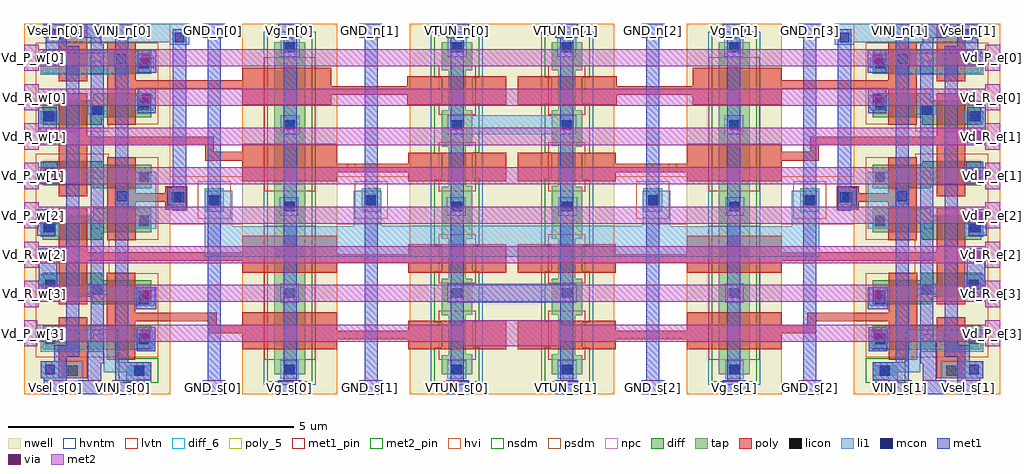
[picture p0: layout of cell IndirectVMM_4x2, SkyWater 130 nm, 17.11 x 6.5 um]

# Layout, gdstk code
from math import pi, radians
import gdstk
lib = gdstk.Library(unit=1e-6, precision=1e-09)
def R(c, l, rs):  # rectangles x0, y0, x1, y1
    for r in rs: c.add(gdstk.rectangle(r[:2], r[2:], *l))
def A(c, l, x, y, w, h, nx, ny, dx, dy):  # array of equal rectangles
    R(c, l, [(x+i*dx, y+j*dy, x+i*dx+w, y+j*dy+h) for i in range(nx) for j in range(ny)])
nwell = (64, 20)
diff_6 = (65, 6)
diff = (65, 20)
tap = (65, 44)
poly_5 = (66, 5)
poly = (66, 20)
licon = (66, 44)
li1 = (67, 20)
mcon = (67, 44)
met1_pin = (68, 16)
met1 = (68, 20)
via = (68, 44)
met2_pin = (69, 16)
met2 = (69, 20)
hvi = (75, 20)
nsdm = (93, 44)
psdm = (94, 20)
npc = (95, 20)
hvntm = (125, 20)
lvtn = (125, 44)

indirectvmm_4x1 = lib.new_cell('IndirectVMM_4x1')
R(indirectvmm_4x1, nwell, [(0,0,2.56,6.5), (3.83,0,5.49,6.5), (6.76,0,8.42,6.5)])
R(indirectvmm_4x1, diff_6, [(1.21,0.9,1.35,1.05), (1.19,2.9,1.33,3.05), (1.21,3.77,1.35,3.92), (1.21,5.7,1.35,5.85)])
R(indirectvmm_4x1, diff, [(0.33,0.78,2.23,1.2), (1.2,1.58,2.23,1.71), (0.33,1.71,2.23,2), (0.33,2,1.37,2.13), (0.33,2.71,1.37,2.84), (0.33,2.84,2.23,3.13), (1.21,3.13,2.23,3.26), (1.21,3.61,2.23,3.67), (0.33,3.67,2.23,4.03), (0.33,4.03,1.36,4.09), (0.33,4.73,1.36,4.86), (0.33,4.86,2.23,5.15), (1.21,5.15,2.23,5.28), (0.33,5.62,2.23,6.04)])
R(indirectvmm_4x1, tap, [(1.79,0.33,2.23,0.51), (4.39,0.35,4.93,6.17), (7.32,0.35,7.86,0.69), (7.45,0.69,7.86,0.7), (7.45,0.7,7.74,1.39), (7.32,1.39,7.74,1.4), (7.32,1.4,7.86,2.03), (7.45,2.03,7.74,2.73), (7.32,2.73,7.86,3.64), (3.17,3.2,3.5,3.61), (5.92,3.2,6.25,3.61), (7.45,3.64,7.86,3.66), (7.45,3.66,7.74,4.34), (7.32,4.34,7.74,4.36), (7.32,4.36,7.86,4.98), (7.45,4.98,7.74,5.68), (7.32,5.68,7.86,6.17)])
R(indirectvmm_4x1, poly_5, [(5.7,0.97,5.84,1.12), (5.77,2.31,5.91,2.46), (5.67,3.89,5.81,4.04), (5.64,5.25,5.78,5.4)])
R(indirectvmm_4x1, poly, [(0.61,0.28,1.11,1.35), (1.45,0.61,1.95,1.28), (3.83,0.79,5.49,0.97), (6.74,0.79,8.45,0.97), (3.83,0.97,8.45,1.07), (3.22,1.07,8.45,1.12), (3.22,1.12,5.49,1.22), (6.74,1.12,8.45,1.29), (3.22,1.22,3.38,1.28), (3.83,1.22,5.49,1.44), (1.45,1.28,3.38,1.43), (1.45,1.43,1.95,2.13), (0.61,1.58,1.11,2.34), (3.83,2.13,5.49,2.31), (6.74,2.13,8.45,2.31), (3.83,2.31,8.45,2.34), (0.61,2.34,8.45,2.46), (0.61,2.46,5.49,2.49), (6.74,2.46,8.45,2.63), (0.61,2.49,1.11,3.26), (3.83,2.49,5.49,2.78), (1.46,2.7,1.96,3.38), (2.48,3.24,2.86,3.38), (1.46,3.38,2.86,3.53), (0.61,3.47,1.11,4.37), (1.46,3.53,1.96,4.16), (2.48,3.53,2.86,3.65), (3.83,3.74,5.49,3.89), (6.74,3.74,8.45,3.89), (3.83,3.89,8.45,4.04), (3.83,4.04,5.49,4.1), (6.74,4.04,8.45,4.24), (3.18,4.1,5.49,4.25), (3.18,4.25,3.33,4.37), (3.83,4.25,5.49,4.39), (0.61,4.37,3.33,4.52), (0.61,4.52,1.11,5.28), (1.46,4.73,1.96,5.36), (3.83,5.08,5.39,5.25), (6.72,5.08,8.45,5.25), (3.83,5.25,8.45,5.36), (1.46,5.36,8.45,5.4), (1.46,5.4,5.39,5.51), (6.72,5.4,8.45,5.58), (0.61,5.49,1.11,6.5), (1.46,5.51,1.96,6.17), (3.83,5.51,5.39,5.73)])
R(indirectvmm_4x1, licon, [(0.77,0.33,0.94,0.5), (1.935,0.33,2.105,0.5), (4.57,0.35,4.74,0.52), (7.5,0.35,7.67,0.52), (2.015,0.88,2.185,1.05), (0.375,0.89,0.545,1.06), (2.015,1.65,2.185,1.82), (4.57,1.69,4.74,1.86), (7.5,1.69,7.67,1.86), (1.195,1.75,1.365,1.92), (0.375,1.84,0.545,2.01), (0.375,2.84,0.545,3.01), (2.02,2.96,2.19,3.13), (4.56,3.21,4.73,3.38), (7.49,3.21,7.66,3.38), (3.25,3.32,3.42,3.49), (6,3.32,6.17,3.49), (2.59,3.37,2.76,3.54), (2.02,3.73,2.19,3.9), (0.375,3.81,0.545,3.98), (4.58,4.64,4.75,4.81), (7.51,4.64,7.68,4.81), (0.375,4.79,0.545,4.96), (1.195,4.9,1.365,5.07), (2.02,4.98,2.19,5.15), (2.02,5.72,2.19,5.89), (0.375,5.78,0.545,5.95), (4.58,6,4.75,6.17), (7.51,6,7.68,6.17), (0.77,6.28,0.94,6.45)])
R(indirectvmm_4x1, li1, [(1.79,0.22,2.23,0.39), (4.49,0.27,4.82,0.6), (7.42,0.27,7.75,0.6), (0.29,0.28,1.02,0.58), (1.4,0.39,2.23,0.56), (1.4,0.56,1.65,0.75), (0.29,0.75,1.65,1.13), (1.93,0.8,2.27,1.13), (1.4,1.13,1.65,1.14), (1.93,1.55,2.28,1.58), (1.93,1.58,2.29,1.88), (4.49,1.61,4.82,1.94), (7.42,1.61,7.75,1.94), (1.11,1.75,1.45,1.94), (0.29,1.76,0.63,2.11), (3.17,2.41,6.27,2.8), (0.29,2.76,0.63,3.09), (3.17,2.8,6.26,2.95), (1.94,2.9,2.32,3.29), (3.17,2.95,3.65,3.57), (5.78,2.95,6.26,3.57), (4.48,3.13,4.81,3.46), (7.41,3.13,7.74,3.46), (2.51,3.25,2.84,3.63), (1.6,3.29,2.32,3.6), (1.94,3.6,2.32,3.9), (0.29,3.73,0.63,3.98), (4.5,4.56,4.83,4.89), (7.43,4.56,7.76,4.89), (0.29,4.75,0.63,4.96), (1.11,4.9,1.46,5.07), (1.94,4.98,2.27,5.02), (1.94,5.02,2.31,5.19), (1.94,5.19,2.27,5.24), (0.29,5.6,1.79,5.99), (1.96,5.64,2.23,5.73), (1.96,5.73,2.28,5.9), (1.96,5.9,2.23,5.97), (4.5,5.92,4.83,6.25), (7.43,5.92,7.76,6.25), (2.56,6.13,2.9,6.17), (0.39,6.17,2.9,6.5)])
R(indirectvmm_4x1, mcon, [(1.935,0.33,2.105,0.5), (0.37,0.35,0.54,0.52), (4.58,0.35,4.75,0.52), (7.51,0.35,7.68,0.52), (2.015,0.89,2.185,1.06), (2.015,1.58,2.185,1.75), (4.58,1.69,4.75,1.86), (7.51,1.69,7.68,1.86), (1.2,1.75,1.37,1.92), (0.375,1.84,0.545,2.01), (0.35,2.84,0.52,3.01), (4.58,3.21,4.75,3.38), (7.51,3.21,7.68,3.38), (3.25,3.32,3.42,3.49), (6,3.32,6.17,3.49), (2.64,3.37,2.81,3.54), (1.63,3.39,1.8,3.56), (0.36,3.8,0.53,3.97), (4.58,4.64,4.75,4.81), (7.51,4.64,7.68,4.81), (0.345,4.79,0.515,4.96), (1.2,4.9,1.37,5.07), (2.02,5.03,2.19,5.2), (2.02,5.72,2.19,5.89), (1.62,5.8,1.79,5.97), (4.58,6,4.75,6.17), (7.51,6,7.68,6.17), (2.64,6.17,2.81,6.34), (0.48,6.23,0.65,6.4)])
A(indirectvmm_4x1, met1_pin, 0.35, 0, 0.4, 0.25, 3, 2, 0.6, 6.25)
R(indirectvmm_4x1, met1_pin, [(3.13,0,3.53,0.25), (4.46,0,4.86,0.25), (5.88,0,6.28,0.25), (7.4,0,7.8,0.25), (3.13,6.25,3.53,6.5), (4.46,6.25,4.86,6.5), (5.88,6.25,6.28,6.5), (7.4,6.25,7.8,6.5)])
A(indirectvmm_4x1, met1, 0.35, 6.25, 0.4, 0.25, 3, 1, 0.6, 0)
R(indirectvmm_4x1, met1, [(0.35,0,0.75,0.28), (0.95,0,1.35,0.25), (1.55,0,1.95,0.25), (3.13,0,3.53,0.25), (4.46,0,4.86,0.25), (5.88,0,6.28,0.25), (7.4,0,7.8,0.25), (1.12,0.25,1.35,0.55), (1.6,0.25,2.23,0.56), (3.22,0.25,3.45,6.25), (4.55,0.25,4.78,6.25), (5.97,0.25,6.2,6.25), (7.48,0.25,7.71,6.25), (0.29,0.28,0.75,0.58), (1.12,0.55,1.4,0.93), (1.6,0.56,1.83,5.74), (0.53,0.58,0.75,0.66), (0.53,0.66,0.97,0.86), (1.98,0.76,2.3,1.18), (0.74,0.86,0.97,5.9), (1.17,0.93,1.4,6.14), (1.97,1.49,2.32,1.88), (0.26,1.71,0.58,2.56), (0.23,2.78,0.55,3.25), (2.61,3.22,2.84,3.32), (2.51,3.32,2.84,3.63), (2.61,3.63,2.84,6.4), (0.29,3.69,0.59,4.08), (0.25,4.4,0.57,5.03), (1.99,4.93,2.31,5.36), (1.99,5.64,2.32,6.04), (1.58,5.74,1.83,6.01), (0.38,5.9,0.97,6.1), (1.6,6.01,1.83,6.25), (0.38,6.1,0.75,6.25), (1.17,6.14,1.35,6.25), (3.13,6.25,3.53,6.5), (4.46,6.25,4.86,6.5), (5.88,6.25,6.28,6.5), (7.4,6.25,7.8,6.5)])
R(indirectvmm_4x1, via, [(2.065,0.975,2.215,1.125), (2.085,1.675,2.235,1.825), (0.345,2.355,0.495,2.505), (0.315,3.045,0.465,3.195), (0.355,3.775,0.505,3.925), (0.335,4.465,0.485,4.615), (2.075,5.115,2.225,5.265), (2.065,5.805,2.215,5.955)])
A(indirectvmm_4x1, met2_pin, 0, 1.53, 0.26, 0.46, 1, 7, 0, 0.69)
R(indirectvmm_4x1, met2_pin, [(0,0.84,0.23,1.3)])
A(indirectvmm_4x1, met2, 0, 2.3, 8.42, 0.3, 1, 6, 0, 0.69)
R(indirectvmm_4x1, met2, [(0,0.84,0.23,0.92), (7.69,0.84,8.42,0.92), (0,0.92,8.42,1.22), (0,1.22,0.23,1.3), (7.68,1.22,8.42,1.3), (0,1.53,0.26,1.62), (0,1.62,8.42,1.92), (0,1.92,0.26,1.99), (0,2.22,0.26,2.3), (0,2.6,0.26,2.68), (0,2.91,0.26,2.99), (0,3.29,0.26,3.37), (0,3.6,0.26,3.68), (0,3.98,0.26,4.06), (0,4.29,0.26,4.37), (0,4.67,0.26,4.75), (0,4.98,0.26,5.06), (0,5.36,0.26,5.44), (0,5.67,0.26,5.75), (0,6.05,0.26,6.13)])
R(indirectvmm_4x1, hvi, [(0,0,2.56,2.985), (3.83,0,5.49,2.985), (6.76,0,8.42,2.985), (0,2.985,8.42,3.825), (0,3.825,2.56,6.5), (3.83,3.825,5.49,6.5), (6.76,3.825,8.42,6.5)])
R(indirectvmm_4x1, nsdm, [(1.665,0.205,2.355,0.635), (4.265,0.225,5.055,6.295), (7.195,0.225,7.985,0.815), (7.325,0.815,7.985,0.825), (7.325,0.825,7.865,1.265), (7.195,1.265,7.865,1.275), (7.195,1.275,7.985,2.155), (7.325,2.155,7.865,2.605), (7.195,2.605,7.985,3.765), (7.325,3.765,7.985,3.785), (7.325,3.785,7.865,4.215), (7.195,4.215,7.865,4.235), (7.195,4.235,7.985,5.105), (7.325,5.105,7.865,5.555), (7.195,5.555,7.985,6.295)])
R(indirectvmm_4x1, psdm, [(0.205,0.655,2.355,2.125), (0.205,2.125,1.495,2.715), (0.205,2.715,2.355,4.155), (3.045,3.075,3.625,3.735), (5.795,3.075,6.375,3.735), (0.205,4.155,1.485,4.215), (0.205,4.605,1.485,4.735), (0.205,4.735,2.355,6.165)])
R(indirectvmm_4x1, npc, [(0.67,0.23,1.04,0.6), (2.49,3.27,2.86,3.64), (0.67,6.18,1.04,6.5)])
R(indirectvmm_4x1, hvntm, [(4.205,0.165,5.115,6.355), (7.135,0.165,8.045,6.355)])
R(indirectvmm_4x1, lvtn, [(4.21,0.61,5.11,2.96), (7.27,0.61,7.92,1.47), (7.27,1.95,7.92,2.81), (4.21,3.56,5.11,5.91), (7.27,3.56,7.92,4.42), (7.27,4.9,7.92,5.76)])
indirectvmm_4x1.add(gdstk.Label('FG[0]', (5.71,5.325), layer=66, texttype=5))
indirectvmm_4x1.add(gdstk.Label('FG[1]', (5.74,3.965), layer=66, texttype=5))
indirectvmm_4x1.add(gdstk.Label('FG[2]', (5.84,2.385), layer=66, texttype=5))
indirectvmm_4x1.add(gdstk.Label('FG[3]', (5.77,1.045), layer=66, texttype=5))
indirectvmm_4x1.add(gdstk.Label('Vmid[0]', (1.28,5.775), layer=65, texttype=6))
indirectvmm_4x1.add(gdstk.Label('Vmid[1]', (1.28,3.845), layer=65, texttype=6))
indirectvmm_4x1.add(gdstk.Label('Vmid[2]', (1.26,2.975), layer=65, texttype=6))
indirectvmm_4x1.add(gdstk.Label('Vmid[3]', (1.28,0.975), layer=65, texttype=6))
indirectvmm_4x1.add(gdstk.Label('Vd_P[3]', (0.115,1.07), layer=69, texttype=5))
indirectvmm_4x1.add(gdstk.Label('Vd_R[3]', (0.13,1.76), layer=69, texttype=5))
indirectvmm_4x1.add(gdstk.Label('Vd_R[2]', (0.13,2.45), layer=69, texttype=5))
indirectvmm_4x1.add(gdstk.Label('Vd_P[2]', (0.13,3.14), layer=69, texttype=5))
indirectvmm_4x1.add(gdstk.Label('Vd_P[1]', (0.13,3.83), layer=69, texttype=5))
indirectvmm_4x1.add(gdstk.Label('Vd_R[1]', (0.13,4.52), layer=69, texttype=5))
indirectvmm_4x1.add(gdstk.Label('Vd_R[0]', (0.13,5.21), layer=69, texttype=5))
indirectvmm_4x1.add(gdstk.Label('Vd_P[0]', (0.13,5.9), layer=69, texttype=5))
indirectvmm_4x1.add(gdstk.Label('Vs', (1.15,0.125), layer=68, texttype=5))
indirectvmm_4x1.add(gdstk.Label('Vs', (1.15,6.375), layer=68, texttype=5))
indirectvmm_4x1.add(gdstk.Label('GND', (6.08,0.125), layer=68, texttype=5))
indirectvmm_4x1.add(gdstk.Label('GND', (3.33,0.125), layer=68, texttype=5))
indirectvmm_4x1.add(gdstk.Label('GND', (3.33,6.375), layer=68, texttype=5))
indirectvmm_4x1.add(gdstk.Label('GND', (6.08,6.375), layer=68, texttype=5))
indirectvmm_4x1.add(gdstk.Label('Vg', (4.66,0.125), layer=68, texttype=5))
indirectvmm_4x1.add(gdstk.Label('Vg', (4.66,6.375), layer=68, texttype=5))
indirectvmm_4x1.add(gdstk.Label('VTUN', (7.6,0.125), layer=68, texttype=5))
indirectvmm_4x1.add(gdstk.Label('VTUN', (7.6,6.375), layer=68, texttype=5))
indirectvmm_4x1.add(gdstk.Label('VINJ', (1.75,0.125), layer=68, texttype=5))
indirectvmm_4x1.add(gdstk.Label('VINJ', (1.75,6.375), layer=68, texttype=5))
indirectvmm_4x1.add(gdstk.Label('Vsel', (0.55,0.125), layer=68, texttype=5))
indirectvmm_4x1.add(gdstk.Label('Vsel', (0.55,6.375), layer=68, texttype=5))

indirectvmm_4x2 = lib.new_cell('IndirectVMM_4x2')
R(indirectvmm_4x2, nwell, [(8.42,0,8.69,6.16), (16.85,0.84,17.11,1.3), (8.42,6.16,8.71,6.5)])
R(indirectvmm_4x2, li1, [(7.75,1.61,9.36,1.94), (6.26,2.41,10.85,2.71), (6.24,2.71,10.88,2.96), (7.76,4.56,9.35,4.89)])
A(indirectvmm_4x2, met1_pin, 0.35, 0, 0.4, 0.25, 3, 2, 0.6, 6.25)
A(indirectvmm_4x2, met1_pin, 15.16, 0, 0.4, 0.25, 3, 2, 0.6, 6.25)
R(indirectvmm_4x2, met1_pin, [(3.13,0,3.53,0.25), (4.46,0,4.86,0.25), (5.88,0,6.28,0.25), (7.4,0,7.8,0.25), (9.31,0,9.71,0.25), (10.83,0,11.23,0.25), (12.25,0,12.65,0.25), (13.58,0,13.98,0.25), (3.13,6.25,3.53,6.5), (4.46,6.25,4.86,6.5), (5.88,6.25,6.28,6.5), (7.4,6.25,7.8,6.5), (9.31,6.25,9.71,6.5), (10.83,6.25,11.23,6.5), (12.25,6.25,12.65,6.5), (13.58,6.25,13.98,6.5)])
A(indirectvmm_4x2, met1, 0.35, 0, 0.4, 0.25, 3, 2, 0.6, 6.25)
A(indirectvmm_4x2, met1, 15.16, 0, 0.4, 0.25, 3, 2, 0.6, 6.25)
R(indirectvmm_4x2, met1, [(3.13,0,3.53,0.25), (4.46,0,4.86,0.25), (5.88,0,6.28,0.25), (7.4,0,7.8,0.25), (9.31,0,9.71,0.25), (10.83,0,11.23,0.25), (12.25,0,12.65,0.25), (13.58,0,13.98,0.25), (3.13,6.25,3.53,6.5), (4.46,6.25,4.86,6.5), (5.88,6.25,6.28,6.5), (7.4,6.25,7.8,6.5), (9.31,6.25,9.71,6.5), (10.83,6.25,11.23,6.5), (12.25,6.25,12.65,6.5), (13.58,6.25,13.98,6.5)])
A(indirectvmm_4x2, met2_pin, 16.85, 0.84, 0.26, 0.46, 1, 8, 0, 0.69)
A(indirectvmm_4x2, met2_pin, 0, 1.53, 0.26, 0.46, 1, 7, 0, 0.69)
R(indirectvmm_4x2, met2_pin, [(0,0.84,0.23,1.3)])
A(indirectvmm_4x2, met2, 16.85, 0.84, 0.26, 0.46, 1, 8, 0, 0.69)
A(indirectvmm_4x2, met2, 0, 1.53, 0.26, 0.46, 1, 7, 0, 0.69)
A(indirectvmm_4x2, met2, 8.42, 2.3, 0.27, 0.3, 1, 6, 0, 0.69)
R(indirectvmm_4x2, met2, [(0,0.84,0.23,1.3), (8.42,0.84,8.7,1.3), (8.42,1.62,8.69,1.92)])
R(indirectvmm_4x2, hvi, [(8.42,0,8.69,6.5)])
indirectvmm_4x2.add(gdstk.Reference(indirectvmm_4x1, (17.11,0), rotation=pi, x_reflection=True))
indirectvmm_4x2.add(gdstk.Reference(indirectvmm_4x1, (0,0)))
indirectvmm_4x2.add(gdstk.Label('Vd_P_e[3]', (16.98,1.07), layer=69, texttype=5))
indirectvmm_4x2.add(gdstk.Label('Vd_R_e[3]', (16.98,1.76), layer=69, texttype=5))
indirectvmm_4x2.add(gdstk.Label('Vd_R_e[2]', (16.98,2.45), layer=69, texttype=5))
indirectvmm_4x2.add(gdstk.Label('Vd_P_e[2]', (16.98,3.14), layer=69, texttype=5))
indirectvmm_4x2.add(gdstk.Label('Vd_P_e[1]', (16.98,3.83), layer=69, texttype=5))
indirectvmm_4x2.add(gdstk.Label('Vd_R_e[1]', (16.98,4.52), layer=69, texttype=5))
indirectvmm_4x2.add(gdstk.Label('Vd_R_e[0]', (16.98,5.21), layer=69, texttype=5))
indirectvmm_4x2.add(gdstk.Label('Vd_P_e[0]', (16.98,5.9), layer=69, texttype=5))
indirectvmm_4x2.add(gdstk.Label('Vd_P_w[3]', (0.115,1.07), layer=69, texttype=5))
indirectvmm_4x2.add(gdstk.Label('Vd_R_w[3]', (0.13,1.76), layer=69, texttype=5))
indirectvmm_4x2.add(gdstk.Label('Vd_R_w[2]', (0.13,2.45), layer=69, texttype=5))
indirectvmm_4x2.add(gdstk.Label('Vd_P_w[2]', (0.13,3.14), layer=69, texttype=5))
indirectvmm_4x2.add(gdstk.Label('Vd_P_w[1]', (0.13,3.83), layer=69, texttype=5))
indirectvmm_4x2.add(gdstk.Label('Vd_R_w[1]', (0.13,4.52), layer=69, texttype=5))
indirectvmm_4x2.add(gdstk.Label('Vd_R_w[0]', (0.13,5.21), layer=69, texttype=5))
indirectvmm_4x2.add(gdstk.Label('Vd_P_w[0]', (0.13,5.9), layer=69, texttype=5))
indirectvmm_4x2.add(gdstk.Label('Vsel_n[0]', (0.55,6.375), layer=68, texttype=5))
indirectvmm_4x2.add(gdstk.Label('Vs_n[0]', (1.15,6.375), layer=68, texttype=5))
indirectvmm_4x2.add(gdstk.Label('VINJ_n[0]', (1.75,6.375), layer=68, texttype=5))
indirectvmm_4x2.add(gdstk.Label('GND_n[0]', (3.33,6.375), layer=68, texttype=5))
indirectvmm_4x2.add(gdstk.Label('GND_n[1]', (6.08,6.375), layer=68, texttype=5))
indirectvmm_4x2.add(gdstk.Label('GND_n[2]', (11.03,6.375), layer=68, texttype=5))
indirectvmm_4x2.add(gdstk.Label('GND_n[3]', (13.78,6.375), layer=68, texttype=5))
indirectvmm_4x2.add(gdstk.Label('Vg_n[0]', (4.66,6.375), layer=68, texttype=5))
indirectvmm_4x2.add(gdstk.Label('VTUN_n[0]', (7.6,6.375), layer=68, texttype=5))
indirectvmm_4x2.add(gdstk.Label('VTUN_n[1]', (9.51,6.375), layer=68, texttype=5))
indirectvmm_4x2.add(gdstk.Label('Vg_n[1]', (12.45,6.375), layer=68, texttype=5))
indirectvmm_4x2.add(gdstk.Label('VINJ_n[1]', (15.36,6.375), layer=68, texttype=5))
indirectvmm_4x2.add(gdstk.Label('Vs_n[1]', (15.96,6.375), layer=68, texttype=5))
indirectvmm_4x2.add(gdstk.Label('Vsel_n[1]', (16.56,6.375), layer=68, texttype=5))
indirectvmm_4x2.add(gdstk.Label('Vsel_s[0]', (0.55,0.125), layer=68, texttype=5))
indirectvmm_4x2.add(gdstk.Label('Vs_s[0]', (1.15,0.125), layer=68, texttype=5))
indirectvmm_4x2.add(gdstk.Label('VINJ_s[0]', (1.75,0.125), layer=68, texttype=5))
indirectvmm_4x2.add(gdstk.Label('GND_s[0]', (3.33,0.125), layer=68, texttype=5))
indirectvmm_4x2.add(gdstk.Label('GND_s[1]', (6.08,0.125), layer=68, texttype=5))
indirectvmm_4x2.add(gdstk.Label('GND_s[2]', (11.03,0.125), layer=68, texttype=5))
indirectvmm_4x2.add(gdstk.Label('GND_s[2]', (13.78,0.125), layer=68, texttype=5))
indirectvmm_4x2.add(gdstk.Label('Vg_s[0]', (4.66,0.125), layer=68, texttype=5))
indirectvmm_4x2.add(gdstk.Label('Vg_s[1]', (12.45,0.125), layer=68, texttype=5))
indirectvmm_4x2.add(gdstk.Label('VINJ_s[1]', (15.36,0.125), layer=68, texttype=5))
indirectvmm_4x2.add(gdstk.Label('Vs_s[1]', (15.96,0.125), layer=68, texttype=5))
indirectvmm_4x2.add(gdstk.Label('Vsel_s[1]', (16.56,0.125), layer=68, texttype=5))
indirectvmm_4x2.add(gdstk.Label('VTUN_s[0]', (7.6,0.125), layer=68, texttype=5))
indirectvmm_4x2.add(gdstk.Label('VTUN_s[1]', (9.51,0.125), layer=68, texttype=5))

lib.write_gds('IndirectVMM_4x2.gds')
